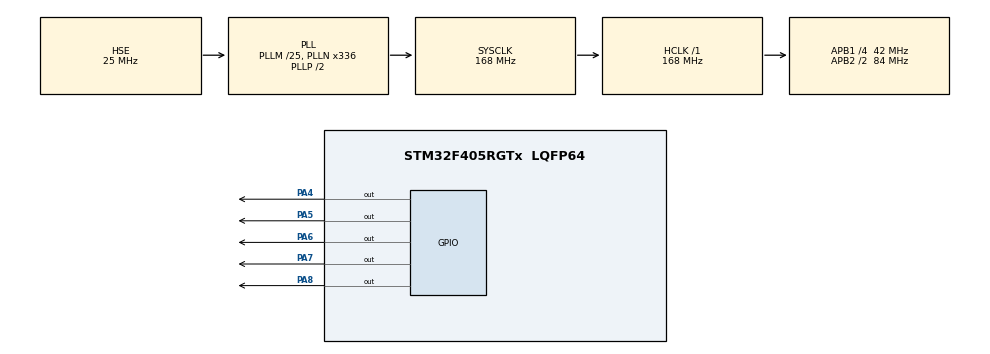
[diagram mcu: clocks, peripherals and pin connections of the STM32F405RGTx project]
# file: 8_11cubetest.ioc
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Mcu.Family=STM32F4
Mcu.Name=STM32F405RGTx
Mcu.Package=LQFP64
NVIC.PriorityGroup=NVIC_PRIORITYGROUP_4
NVIC.TIM1_UP_TIM10_IRQn=true\:15\:0\:false\:false\:true\:false\:true\:true
NVIC.TimeBase=TIM1_UP_TIM10_IRQn
NVIC.TimeBaseIP=TIM1
PA13.Mode=Serial_Wire
PA13.Signal=SYS_JTMS-SWDIO
PA14.Mode=Serial_Wire
PA14.Signal=SYS_JTCK-SWCLK
PA4.Signal=GPIO_Output
PA5.Signal=GPIO_Output
PA6.Signal=GPIO_Output
PA7.Signal=GPIO_Output
PA8.Signal=GPIO_Output
PH0-OSC_IN.Mode=HSE-External-Oscillator
PH0-OSC_IN.Signal=RCC_OSC_IN
PH1-OSC_OUT.Mode=HSE-External-Oscillator
PH1-OSC_OUT.Signal=RCC_OSC_OUT
ProjectManager.HeapSize=0x400
ProjectManager.StackSize=0x800
ProjectManager.TargetToolchain=MDK-ARM V5.32
RCC.48MHZClocksFreq_Value=84000000
RCC.AHBFreq_Value=168000000
RCC.APB1CLKDivider=RCC_HCLK_DIV4
RCC.APB1Freq_Value=42000000
RCC.APB1TimFreq_Value=84000000
RCC.APB2CLKDivider=RCC_HCLK_DIV2
RCC.APB2Freq_Value=84000000
RCC.APB2TimFreq_Value=168000000
RCC.CortexFreq_Value=168000000
RCC.HCLKFreq_Value=168000000
RCC.HSE_VALUE=25000000
RCC.HSI_VALUE=16000000
RCC.LSE_VALUE=32768
RCC.PLLM=25
RCC.PLLN=336
RCC.PLLSourceVirtual=RCC_PLLSOURCE_HSE
RCC.SYSCLKFreq_VALUE=168000000
RCC.SYSCLKSource=RCC_SYSCLKSOURCE_PLLCLK
RCC.VCOOutputFreq_Value=336000000
VP_SYS_VS_tim1.Mode=TIM1
board=custom

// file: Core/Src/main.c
/* USER CODE BEGIN Header */
/**
  ******************************************************************************
  * @file           : main.c
  * @brief          : Main program body
  ******************************************************************************
  * @attention
  *
  * Copyright (c) 2025 STMicroelectronics.
  * All rights reserved.
  *
  * This software is licensed under terms that can be found in the LICENSE file
  * in the root directory of this software component.
  * If no LICENSE file comes with this software, it is provided AS-IS.
  *
  ******************************************************************************
  */
/* USER CODE END Header */
#include "main.h"
#include "gpio.h"

/* USER CODE BEGIN Includes */
#include "EventRecorder.h"
#include "beep.h"
#include "LED.h"
#include "stdio.h"
/* USER CODE END Includes */

void SystemClock_Config(void);

/* USER CODE BEGIN 0 */
int step = 2;
/* USER CODE END 0 */

int main(void)
{

  /* USER CODE BEGIN 1 */
	EventRecorderInitialize(EventRecordAll, 1U);
	EventRecorderStart();
  /* USER CODE END 1 */

  /* MCU Configuration--------------------------------------------------------*/

  /* Reset of all peripherals, Initializes the Flash interface and the Systick. */
  HAL_Init();

  /* Configure the system clock */
  SystemClock_Config();

  /* Initialize all configured peripherals */
  MX_GPIO_Init();

  /* Infinite loop */
  while (1)
  {

    /* USER CODE BEGIN 3 */
		EventStartA(0);
		LED_ON();
		if(step)
		{
			printf("%d\n",step);
			BEEP_ON();
			HAL_Delay(200);
			BEEP_OFF();
			HAL_Delay(200);
		}
		EventStopA(0);
		if(step) step--;

  }
  /* USER CODE END 3 */
}

void SystemClock_Config(void)
{
  RCC_OscInitTypeDef RCC_OscInitStruct = {0};
  RCC_ClkInitTypeDef RCC_ClkInitStruct = {0};

  /** Configure the main internal regulator output voltage
  */
  __HAL_RCC_PWR_CLK_ENABLE();
  __HAL_PWR_VOLTAGESCALING_CONFIG(PWR_REGULATOR_VOLTAGE_SCALE1);

  /** Initializes the RCC Oscillators according to the specified parameters
  * in the RCC_OscInitTypeDef structure.
  */
  RCC_OscInitStruct.OscillatorType = RCC_OSCILLATORTYPE_HSE;
  RCC_OscInitStruct.HSEState = RCC_HSE_ON;
  RCC_OscInitStruct.PLL.PLLState = RCC_PLL_ON;
  RCC_OscInitStruct.PLL.PLLSource = RCC_PLLSOURCE_HSE;
  RCC_OscInitStruct.PLL.PLLM = 25;
  RCC_OscInitStruct.PLL.PLLN = 336;
  RCC_OscInitStruct.PLL.PLLP = RCC_PLLP_DIV2;
  RCC_OscInitStruct.PLL.PLLQ = 4;
  if (HAL_RCC_OscConfig(&RCC_OscInitStruct) != HAL_OK)
  {
    Error_Handler();
  }

  /** Initializes the CPU, AHB and APB buses clocks
  */
  RCC_ClkInitStruct.ClockType = RCC_CLOCKTYPE_HCLK|RCC_CLOCKTYPE_SYSCLK
                              |RCC_CLOCKTYPE_PCLK1|RCC_CLOCKTYPE_PCLK2;
  RCC_ClkInitStruct.SYSCLKSource = RCC_SYSCLKSOURCE_PLLCLK;
  RCC_ClkInitStruct.AHBCLKDivider = RCC_SYSCLK_DIV1;
  RCC_ClkInitStruct.APB1CLKDivider = RCC_HCLK_DIV4;
  RCC_ClkInitStruct.APB2CLKDivider = RCC_HCLK_DIV2;

  if (HAL_RCC_ClockConfig(&RCC_ClkInitStruct, FLASH_LATENCY_5) != HAL_OK)
  {
    Error_Handler();
  }
}

void HAL_TIM_PeriodElapsedCallback(TIM_HandleTypeDef *htim)
{
  if (htim->Instance == TIM1)
  {
    HAL_IncTick();
  }
}

void Error_Handler(void)
{
  __disable_irq();
  while (1)
  {
  }
}
